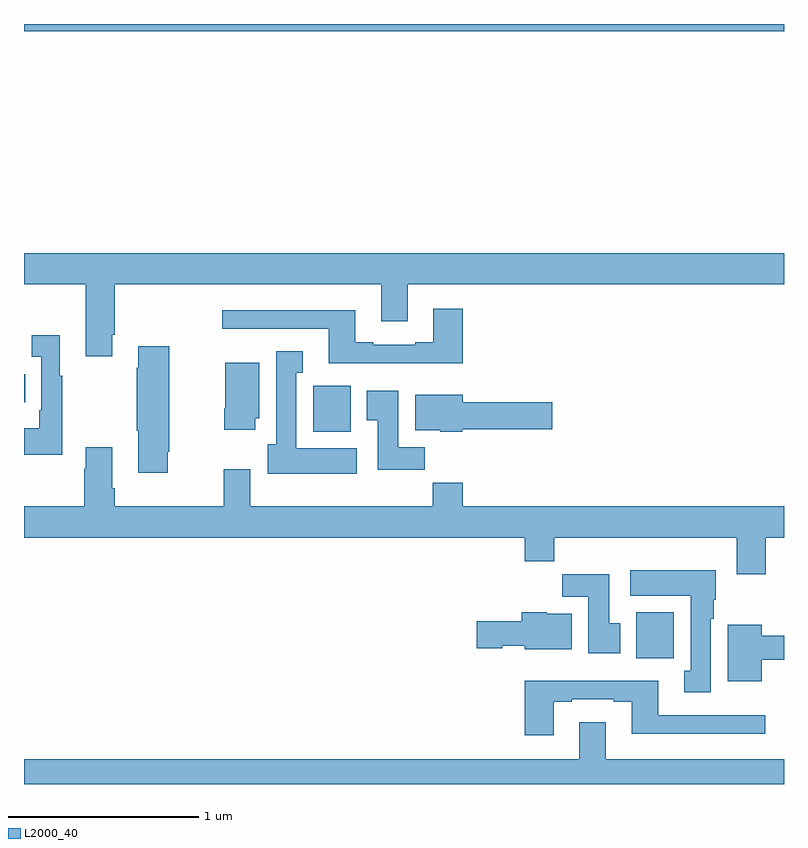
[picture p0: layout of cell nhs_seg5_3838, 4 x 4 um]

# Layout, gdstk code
import gdstk
lib = gdstk.Library(unit=1e-6, precision=1e-09)
def R(c, l, rs):  # rectangles x0, y0, x1, y1
    for r in rs: c.add(gdstk.rectangle(r[:2], r[2:], *l))
def P(c, l, *ps):  # polygons
    for p in ps: c.add(gdstk.Polygon(p, *l))
L2000_40 = (2000, 40)

nhs_seg5_3838 = lib.new_cell('nhs_seg5_3838')
R(nhs_seg5_3838, L2000_40, [(340.223,853.46,340.42,853.702), (338.522,854.654,338.719,854.896), (337,854.807,337.007,854.955), (337,856.76,341,856.799)])
P(nhs_seg5_3838, L2000_40, [(337.465,855.163),(337.478,855.163),(337.478,855.428),(338.879,855.428),(338.879,855.234),(339.019,855.234),(339.019,855.428),(341,855.428),(341,855.592),(337,855.592),(337,855.428),(337.325,855.428),(337.325,855.051),(337.465,855.051)],
  [(339.308,855.301),(339.155,855.301),(339.155,855.124),(339.059,855.124),(339.059,855.111),(338.839,855.111),(338.839,855.124),(338.743,855.124),(338.743,855.292),(338.043,855.292),(338.043,855.195),(338.603,855.195),(338.603,855.014),(339.308,855.014)],
  [(337.201,854.947),(337.189,854.947),(337.189,855.16),(337.041,855.16),(337.041,855.047),(337.092,855.047),(337.092,854.767),(337.08,854.767),(337.08,854.671),(337,854.671),(337,854.531),(337.201,854.531)],
  [(337.756,854.548),(337.764,854.548),(337.764,855.103),(337.601,855.103),(337.601,854.99),(337.594,854.99),(337.594,854.659),(337.601,854.659),(337.601,854.436),(337.756,854.436)],
  [(338.752,854.566),(338.434,854.566),(338.434,854.963),(338.467,854.963),(338.467,855.076),(338.327,855.076),(338.327,854.586),(338.282,854.586),(338.282,854.432),(338.752,854.432)],
  [(338.218,854.724),(338.239,854.724),(338.239,855.016),(338.06,855.016),(338.06,854.776),(338.053,854.776),(338.053,854.664),(338.218,854.664)],
  [(339.11,854.572),(338.971,854.572),(338.971,854.869),(338.804,854.869),(338.804,854.713),(338.861,854.713),(338.861,854.454),(339.11,854.454)],
  [(339.306,854.665),(339.781,854.665),(339.781,854.807),(339.31,854.807),(339.31,854.848),(339.059,854.848),(339.059,854.66),(339.192,854.66),(339.192,854.654),(339.306,854.654)],
  [(340.904,854.096),(341,854.096),(341,854.26),(339.308,854.26),(339.308,854.384),(339.151,854.384),(339.151,854.26),(338.191,854.26),(338.191,854.455),(338.051,854.455),(338.051,854.26),(337.478,854.26),(337.478,854.356),(337.465,854.356),(337.465,854.572),(337.325,854.572),(337.325,854.459),(337.318,854.459),(337.318,854.26),(337,854.26),(337,854.096),(339.635,854.096),(339.635,853.972),(339.791,853.972),(339.791,854.096),(340.751,854.096),(340.751,853.902),(340.904,853.902)],
  [(340.615,853.67),(340.63,853.67),(340.63,853.77),(340.642,853.77),(340.642,853.924),(340.191,853.924),(340.191,853.79),(340.508,853.79),(340.508,853.394),(340.475,853.394),(340.475,853.281),(340.615,853.281)],
  [(340.138,853.644),(340.081,853.644),(340.081,853.903),(339.832,853.903),(339.832,853.784),(339.971,853.784),(339.971,853.488),(340.138,853.488)],
  [(339.883,853.696),(339.75,853.696),(339.75,853.702),(339.62,853.702),(339.62,853.656),(339.384,853.656),(339.384,853.514),(339.516,853.514),(339.516,853.526),(339.636,853.526),(339.636,853.508),(339.883,853.508)],
  [(340.882,853.452),(341,853.452),(341,853.58),(340.882,853.58),(340.882,853.636),(340.703,853.636),(340.703,853.34),(340.882,853.34)],
  [(339.787,853.233),(339.883,853.233),(339.883,853.245),(340.103,853.245),(340.103,853.233),(340.199,853.233),(340.199,853.064),(340.9,853.064),(340.9,853.161),(340.339,853.161),(340.339,853.342),(339.635,853.342),(339.635,853.056),(339.787,853.056)],
  [(341,852.928),(340.063,852.928),(340.063,853.123),(339.923,853.123),(339.923,852.928),(337,852.928),(337,852.799),(341,852.799)])

lib.write_gds('nhs_seg5_3838.gds')
